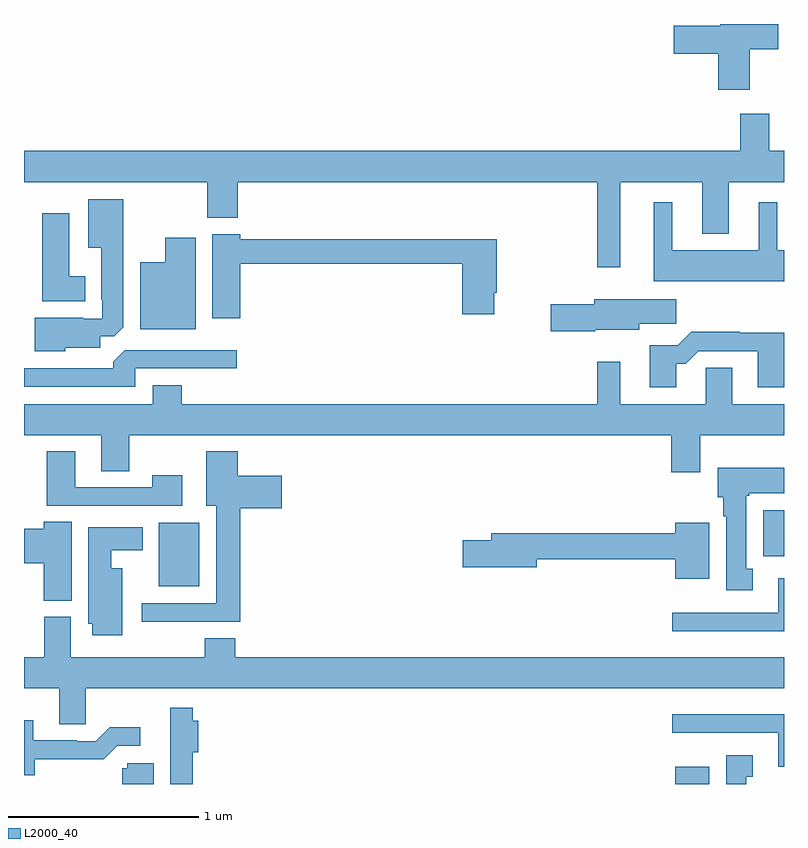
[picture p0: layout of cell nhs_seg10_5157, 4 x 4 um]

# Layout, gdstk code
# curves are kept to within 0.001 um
import gdstk
lib = gdstk.Library(unit=1e-6, precision=1e-09)
def R(c, l, rs):  # rectangles x0, y0, x1, y1
    for r in rs: c.add(gdstk.rectangle(r[:2], r[2:], *l))
def P(c, l, *ps):  # polygons
    for p in ps: c.add(gdstk.Polygon(p, *l))
L2000_40 = (2000, 40)

nhs_seg10_5157 = lib.new_cell('nhs_seg10_5157')
R(nhs_seg10_5157, L2000_40, [(414.428,1278.5,414.607,1278.592), (411.71,1279.541,411.922,1279.876), (414.89,1279.7,415,1279.942)])
P(nhs_seg10_5157, L2000_40, [(414.82,1282.366),(414.971,1282.366),(414.971,1282.5),(414.665,1282.5),(414.665,1282.49),(414.42,1282.49),(414.42,1282.343),(414.653,1282.343),(414.653,1282.155),(414.82,1282.155)],
  [(414.139,1281.668),(414.569,1281.668),(414.569,1281.395),(414.709,1281.395),(414.709,1281.668),(415,1281.668),(415,1281.832),(414.922,1281.832),(414.922,1282.027),(414.77,1282.027),(414.77,1281.832),(411,1281.832),(411,1281.668),(411.964,1281.668),(411.964,1281.479),(412.124,1281.479),(412.124,1281.668),(414.018,1281.668),(414.018,1281.219),(414.139,1281.219)],
  [(411.216,1280.795),(411.4,1280.795),(411.4,1280.856),(411.474,1280.856),(411.523,1280.905),(411.523,1281.577),(411.338,1281.577),(411.338,1281.323),(411.407,1281.323),(411.407,1281.049),(411.411,1281.049),(411.411,1280.949),(411.311,1280.949),(411.311,1280.953),(411.056,1280.953),(411.056,1280.777),(411.216,1280.777)],
  [(415,1281.31),(414.964,1281.31),(414.964,1281.562),(414.866,1281.562),(414.866,1281.31),(414.412,1281.31),(414.412,1281.562),(414.314,1281.562),(414.314,1281.146),(415,1281.146)],
  [(411.322,1281.172),(411.238,1281.172),(411.238,1281.505),(411.095,1281.505),(411.095,1281.041),(411.322,1281.041)],
  [(412.139,1281.238),(413.306,1281.238),(413.306,1280.973),(413.476,1280.973),(413.476,1281.085),(413.489,1281.085),(413.489,1281.367),(412.139,1281.367),(412.139,1281.394),(411.992,1281.394),(411.992,1280.952),(412.139,1280.952)],
  [(411.904,1281.376),(411.743,1281.376),(411.743,1281.247),(411.611,1281.247),(411.611,1280.894),(411.904,1280.894)],
  [(414.006,1280.891),(414.238,1280.891),(414.238,1280.923),(414.433,1280.923),(414.433,1281.052),(414.002,1281.052),(414.002,1281.026),(413.772,1281.026),(413.772,1280.884),(414.006,1280.884)],
  [(414.433,1280.711),(414.482,1280.711),(414.549,1280.778),(414.863,1280.778),(414.863,1280.589),(415,1280.589),(415,1280.876),(414.767,1280.876),(414.767,1280.879),(414.512,1280.879),(414.442,1280.809),(414.293,1280.809),(414.293,1280.589),(414.433,1280.589)],
  [(411.585,1280.688),(412.12,1280.688),(412.12,1280.784),(411.531,1280.784),(411.47,1280.722),(411.47,1280.688),(411,1280.688),(411,1280.592),(411.585,1280.592)],
  [(414.559,1280.336),(415,1280.336),(415,1280.5),(414.727,1280.5),(414.727,1280.69),(414.588,1280.69),(414.588,1280.5),(414.139,1280.5),(414.139,1280.722),(414.018,1280.722),(414.018,1280.5),(411.83,1280.5),(411.83,1280.599),(411.677,1280.599),(411.677,1280.5),(411,1280.5),(411,1280.336),(411.407,1280.336),(411.407,1280.146),(411.555,1280.146),(411.555,1280.336),(414.407,1280.336),(414.407,1280.142),(414.559,1280.142)],
  [(412.139,1279.952),(412.357,1279.952),(412.357,1280.122),(412.126,1280.122),(412.126,1280.251),(411.959,1280.251),(411.959,1279.964),(412.013,1279.964),(412.013,1279.452),(411.621,1279.452),(411.621,1279.355),(412.139,1279.355)],
  [(411.832,1280.125),(411.676,1280.125),(411.676,1280.061),(411.271,1280.061),(411.271,1280.251),(411.119,1280.251),(411.119,1279.965),(411.832,1279.965)],
  [(414.835,1279.634),(414.802,1279.634),(414.802,1280.017),(414.816,1280.017),(414.816,1280.03),(415,1280.03),(415,1280.164),(414.65,1280.164),(414.65,1280.01),(414.68,1280.01),(414.68,1279.91),(414.695,1279.91),(414.695,1279.521),(414.835,1279.521)],
  [(411.25,1279.88),(411.104,1279.88),(411.104,1279.844),(411,1279.844),(411,1279.661),(411.104,1279.661),(411.104,1279.465),(411.25,1279.465)],
  [(414.607,1279.876),(414.428,1279.876),(414.428,1279.82),(413.459,1279.82),(413.459,1279.784),(413.31,1279.784),(413.31,1279.642),(413.698,1279.642),(413.698,1279.684),(414.428,1279.684),(414.428,1279.58),(414.607,1279.58)],
  [(411.517,1279.636),(411.46,1279.636),(411.46,1279.73),(411.625,1279.73),(411.625,1279.852),(411.338,1279.852),(411.338,1279.344),(411.359,1279.344),(411.359,1279.284),(411.517,1279.284)],
  [(415,1279.582),(414.971,1279.582),(414.971,1279.401),(414.411,1279.401),(414.411,1279.304),(415,1279.304)],
  [(411.107,1279.168),(411,1279.168),(411,1279.004),(411.185,1279.004),(411.185,1278.814),(411.324,1278.814),(411.324,1279.004),(415,1279.004),(415,1279.168),(412.112,1279.168),(412.112,1279.267),(411.952,1279.267),(411.952,1279.168),(411.247,1279.168),(411.247,1279.38),(411.107,1279.38)],
  [(411.887,1278.667),(411.917,1278.667),(411.917,1278.832),(411.887,1278.832),(411.887,1278.901),(411.77,1278.901),(411.77,1278.678),(411.771,1278.678),(411.771,1278.5),(411.887,1278.5)],
  [(415,1278.868),(414.411,1278.868),(414.411,1278.771),(414.971,1278.771),(414.971,1278.59),(415,1278.59)],
  [(411.057,1278.63),(411.419,1278.629),(411.492,1278.702),(411.613,1278.702),(411.613,1278.799),(411.451,1278.799),(411.378,1278.726),(411.278,1278.726),(411.278,1278.729),(411.049,1278.729),(411.049,1278.835),(411,1278.835),(411,1278.545),(411.057,1278.545)],
  [(414.802,1278.539),(414.835,1278.539),(414.835,1278.652),(414.695,1278.652),(414.695,1278.5),(414.802,1278.5)],
  [(411.682,1278.609),(411.543,1278.609),(411.543,1278.582),(411.518,1278.582),(411.518,1278.5),(411.682,1278.5)])

lib.write_gds('nhs_seg10_5157.gds')
